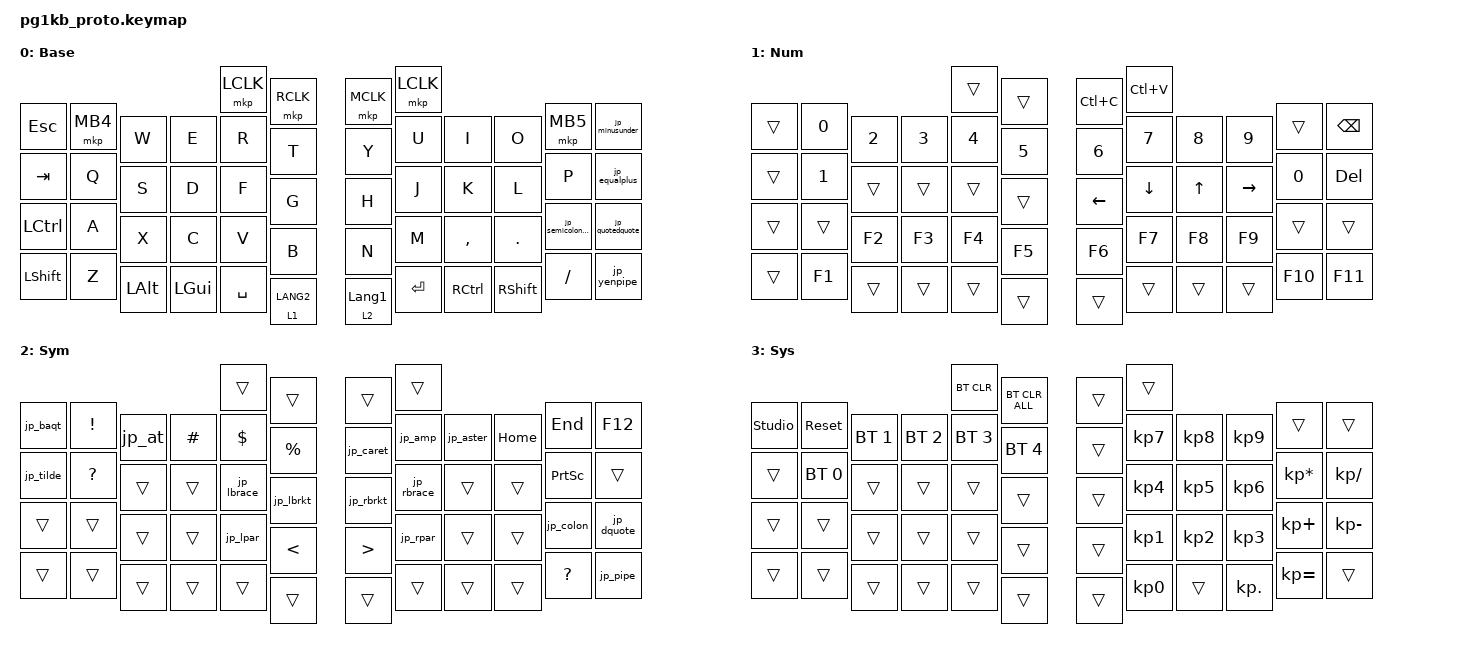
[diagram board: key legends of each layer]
#include <input/processors.dtsi>
#include <dt-bindings/zmk/input_transform.h>
#include <behaviors.dtsi>
#include <behaviors/jpkeysforuslayout.dtsi>
#include <dt-bindings/zmk/bt.h>
#include <dt-bindings/zmk/keys.h>
#include <dt-bindings/zmk/pointing.h>

/ {
    behaviors {
        lt {
            tapping-term-ms = <150>;
            quick-tap-ms = <200>;
        };
    };

    /*
     * PG1KBの既存コンボをRuntime Comboのcompile-time defaultsへ移行。
     * MyKeebStudioから上書き・削除でき、Reset to Defaultでここへ戻せる。
     * layersは従来のzmk,combosと同じく最上位active layerと比較される。
     */
    runtime_combo_defaults {
        compatible = "cormoran,runtime-combo-defaults";

        combo_bs_right {
            slot = <0>;
            display-name = "Backspace Right";
            bindings = <&kp BACKSPACE>;
            key-positions = <27 28>;
            layers = <0>;
        };

        combo_del_right {
            slot = <1>;
            display-name = "Delete Right";
            bindings = <&kp DELETE>;
            key-positions = <28 29>;
            layers = <0>;
        };

        combo_enter_right {
            slot = <2>;
            display-name = "Enter Right";
            bindings = <&kp ENTER>;
            key-positions = <27 28 29>;
            layers = <0>;
        };

        combo_bs_left {
            slot = <3>;
            display-name = "Backspace Left";
            bindings = <&kp BACKSPACE>;
            key-positions = <22 23>;
            layers = <0>;
        };

        combo_del_left {
            slot = <4>;
            display-name = "Delete Left";
            bindings = <&kp DELETE>;
            key-positions = <23 24>;
            layers = <0>;
        };

        combo_enter_left {
            slot = <5>;
            display-name = "Enter Left";
            bindings = <&kp ENTER>;
            key-positions = <22 23 24>;
            layers = <0>;
        };

        combo_cut {
            slot = <6>;
            display-name = "Cut";
            bindings = <&kp LC(X)>;
            key-positions = <4 5>;
            layers = <1>;
        };

        combo_middle_click {
            slot = <7>;
            display-name = "Middle Click";
            bindings = <&mkp MCLK>;
            key-positions = <2 3>;
            layers = <0>;
        };

        combo_sys {
            slot = <8>;
            display-name = "Sys Layer";
            bindings = <&mo 3>;
            key-positions = <44 45>;
            layers = <0>;
        };
    };

    keymap {
        compatible = "zmk,keymap";

        default_layer {
            display-name = "Base";
            bindings = <
&kp ESC         &mkp MB4                              &mkp LCLK  &mkp RCLK      &mkp MCLK         &mkp LCLK                         &mkp MB5   &jp_minusunder
&kp TAB         &kp Q     &kp W         &kp E         &kp R      &kp T          &kp Y             &kp U      &kp I      &kp O       &kp P      &jp_equalplus
&kp LCTRL       &kp A     &kp S         &kp D         &kp F      &kp G          &kp H             &kp J      &kp K      &kp L       &jp_semicoloncolon  &jp_quotedquote
&kp LEFT_SHIFT  &kp Z     &kp X         &kp C         &kp V      &kp B          &kp N             &kp M      &kp COMMA  &kp PERIOD  &kp SLASH  &jp_yenpipe
                          &kp LEFT_ALT  &kp LEFT_GUI  &kp SPACE  &lt 1 LANG2    &lt 2 LANGUAGE_1  &kp ENTER  &kp RCTRL  &kp RSHIFT
            >;
        };

        layer_1 {
            display-name = "Num";
            bindings = <
&trans  &kp N0                  &trans  &trans    &kp LC(C)  &kp LC(V)                     &trans   &kp BSPC
&trans  &kp N1  &kp N2  &kp N3  &kp N4  &kp N5    &kp N6     &kp N7     &kp N8  &kp N9     &kp N0   &kp DEL
&trans  &trans  &trans  &trans  &trans  &trans    &kp LEFT   &kp DOWN   &kp UP  &kp RIGHT  &trans   &trans
&trans  &kp F1  &kp F2  &kp F3  &kp F4  &kp F5    &kp F6     &kp F7     &kp F8  &kp F9     &kp F10  &kp F11
                &trans  &trans  &trans  &trans    &trans     &trans     &trans  &trans
            >;
        };

        layer_2 {
            display-name = "Sym";
            bindings = <
&jp_baqt   &kp EXCL                         &trans       &trans       &trans      &trans                              &kp END          &kp F12
&jp_tilde  &kp QUESTION  &jp_at  &kp HASH  &kp DOLLAR   &kp PERCENT  &jp_caret  &jp_amp       &jp_aster   &kp HOME  &kp PRINTSCREEN  &trans
&trans     &trans        &trans  &trans    &jp_lbrace   &jp_lbrkt    &jp_rbrkt  &jp_rbrace    &trans      &trans    &jp_colon        &jp_dquote
&trans     &trans        &trans  &trans    &jp_lpar     &kp LESS_THAN &kp GREATER_THAN &jp_rpar  &trans      &trans    &kp QUESTION     &jp_pipe
                         &trans  &trans    &trans        &trans       &trans      &trans         &trans      &trans
            >;
        };

        layer_3 {
            display-name = "Sys";
            bindings = <
&studio_unlock  &sys_reset                                &bt BT_CLR    &bt BT_CLR_ALL    &trans  &trans                            &trans           &trans
&trans          &bt BT_SEL 0  &bt BT_SEL 1  &bt BT_SEL 2  &bt BT_SEL 3  &bt BT_SEL 4      &trans  &kp KP_N7  &kp KP_N8  &kp KP_N9   &kp KP_MULTIPLY  &kp KP_DIVIDE
&trans          &trans        &trans        &trans        &trans        &trans            &trans  &kp KP_N4  &kp KP_N5  &kp KP_N6   &kp KP_PLUS      &kp KP_MINUS
&trans          &trans        &trans        &trans        &trans        &trans            &trans  &kp KP_N1  &kp KP_N2  &kp KP_N3   &kp KP_EQUAL     &trans
                              &trans        &trans        &trans        &trans            &trans  &kp KP_N0  &trans     &kp KP_DOT
            >;
        };

        /*
         * ZMK Studio でのみ使える予備レイヤー。
         * status = "reserved" のレイヤーは通常ビルドでは無視され、
         * Studio 有効ビルドでのみ「追加できるレイヤー」として現れる。
         */
        extra_1 {
            status = "reserved";
        };

        extra_2 {
            status = "reserved";
        };
    };
};

/*
 * トラックボールの役割：
 *
 *            左ボール                   右ボール
 *   Base     スクロール     1/2          カーソル      3/2
 *   Num      カーソル       3/2          精密カーソル  1/2
 *   Sym      精密スクロール 1/6          スクロール    1/2
 *
 * lrot / rrot は左右それぞれの共通任意角度補正。My Keeb Studioから変更する。
 * 0° は現在の実機確認済み挙動をそのまま保つ相対補正値。
 * その後段で既存の固定向き補正を行い、速度倍率とXY→scroll変換を
 * lscroll/lmove/lprec/rmove/rprec/rscroll が担当する。
 * スクロール慣性は runtime input processor の後段に置く。
 */
&left_trackball_listener {
    input-processors =
        <&rip_lrot>,
        <&zip_xy_transform INPUT_TRANSFORM_XY_SWAP>,
        <&rip_lscr>,
        <&scroll_inertia_left_base>;

    move_on_num {
        layers = <1>;
        input-processors =
            <&rip_lrot>,
            <&zip_xy_transform (INPUT_TRANSFORM_XY_SWAP | INPUT_TRANSFORM_Y_INVERT)>,
            <&rip_lmov>;
    };

    precise_scroll_on_sym {
        layers = <2>;
        input-processors =
            <&rip_lrot>,
            <&zip_xy_transform INPUT_TRANSFORM_XY_SWAP>,
            <&rip_lpre>,
            <&scroll_inertia_left_sym>;
    };
};

&right_trackball_listener {
    input-processors =
        <&rip_rrot>,
        <&zip_xy_transform 0>,
        <&rip_rmov>;

    precise_move_on_num {
        layers = <1>;
        input-processors =
            <&rip_rrot>,
            <&zip_xy_transform 0>,
            <&rip_rpre>;
    };

    scroll_on_sym {
        layers = <2>;
        input-processors =
            <&rip_rrot>,
            <&zip_xy_transform INPUT_TRANSFORM_Y_INVERT>,
            <&rip_rscr>,
            <&scroll_inertia_right_sym>;
    };
};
